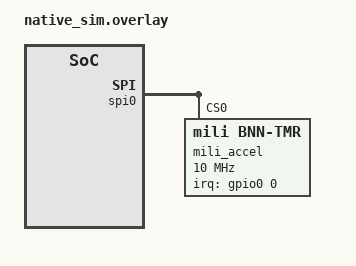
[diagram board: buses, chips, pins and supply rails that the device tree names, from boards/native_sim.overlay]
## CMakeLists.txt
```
cmake_minimum_required(VERSION 3.20)
find_package(Zephyr REQUIRED HINTS $ENV{ZEPHYR_BASE})
project(mili_zephyr_app)

target_sources(app PRIVATE src/main.c)
```

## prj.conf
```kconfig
CONFIG_SPI=y
CONFIG_MILI_BNN_TMR=y
```

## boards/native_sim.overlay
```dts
/ {
	chosen {
		zephyr,console = &uart0;
	};
};

&spi0 {
	status = "okay";
	mili_accel: mili-bnn-tmr@0 {
		compatible = "mili,bnn-tmr";
		reg = <0>;
		spi-max-frequency = <10000000>;
		irq-gpios = <&gpio0 0 GPIO_ACTIVE_HIGH>;
	};
};
```

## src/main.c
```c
#include <zephyr/kernel.h>
#include <zephyr/device.h>

#define MILI_NODE DT_COMPAT_GET_ANY_STATUS_OKAY(mili_bnn_tmr)

int main(void)
{
	const struct device *mili = DEVICE_DT_GET(MILI_NODE);
	if (!device_is_ready(mili)) {
		return 1;
	}
	printk("mili-bnn-tmr zephyr app ready\n");
	return 0;
}
```
